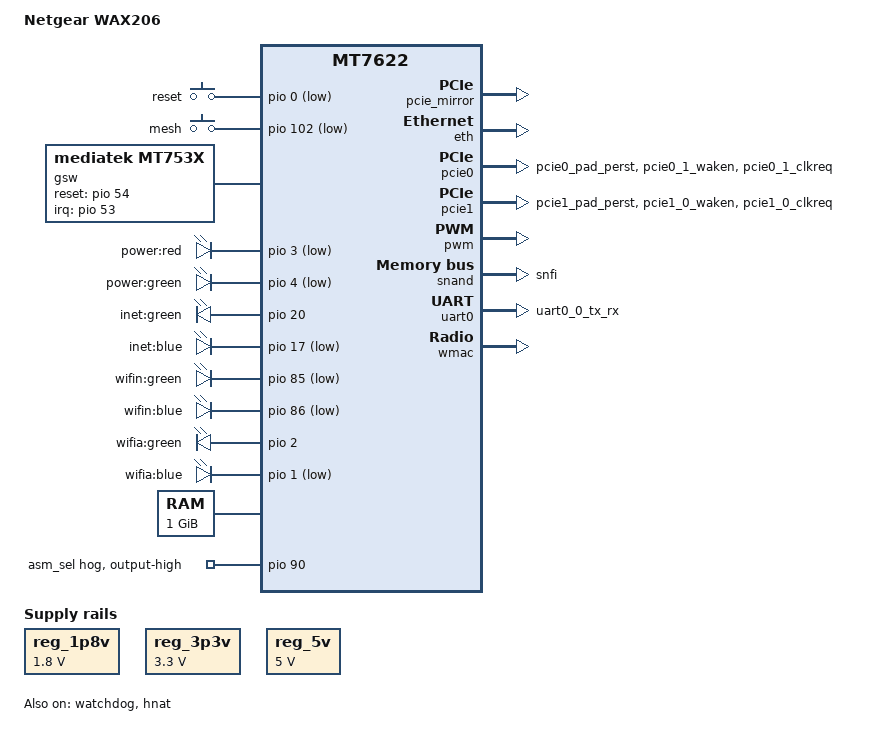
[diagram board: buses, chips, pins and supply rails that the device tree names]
/*
 * Copyright (c) 2018 MediaTek Inc.
 * Author: Ryder Lee <ryder.lee@mediatek.com>
 *
 * SPDX-License-Identifier: (GPL-2.0 OR MIT)
 */

/dts-v1/;
#include <dt-bindings/input/input.h>
#include <dt-bindings/gpio/gpio.h>


#include "mt7622.dtsi"
#include "mt6380.dtsi"

/ {
	model = "Netgear WAX206";
 	compatible = "netgear,wax206", "mediatek,mt7622";
 	
	aliases {
		serial0 = &uart0;
		led-boot = &led_power_r;
 		led-failsafe = &led_power_r;
 		led-running = &led_power_g;
 		led-upgrade = &led_power_g;
	};

 	chosen {
 		stdout-path = "serial0:115200n8";
 		bootargs = "earlycon=uart8250,mmio32,0x11002000 console=ttyS0,115200n8 swiotlb=512";
 	};

	cpus {
		cpu@0 {
			proc-supply = <&mt6380_vcpu_reg>;
			sram-supply = <&mt6380_vm_reg>;
		};

		cpu@1 {
			proc-supply = <&mt6380_vcpu_reg>;
			sram-supply = <&mt6380_vm_reg>;
		};
	};

	gpio-keys {
 		compatible = "gpio-keys";

 		reset {
 			label = "reset";
 			gpios = <&pio 0 GPIO_ACTIVE_LOW>;
 			linux,code = <KEY_RESTART>;
 		};

 		mesh {
 			label = "mesh";
 			gpios = <&pio 102 GPIO_ACTIVE_LOW>;
 			linux,code = <BTN_9>;
 			linux,input-type = <EV_SW>;
 		};
 	};

	gsw: gsw@0 {
		compatible = "mediatek,mt753x";
		mediatek,ethsys = <&ethsys>;
		#address-cells = <1>;
		#size-cells = <0>;
	};

	wed: wed@1020b000 {
		compatible = "mediatek,wed";
		wed_num = <2>;
		/* add this property for wed get the pci slot number. */
		pci_slot_map = <0>, <1>;
		reg = <0 0x1020a000 0 0x1000>,
		      <0 0x1020b000 0 0x1000>;
		interrupts = <GIC_SPI 214 IRQ_TYPE_LEVEL_LOW>,
			     <GIC_SPI 215 IRQ_TYPE_LEVEL_LOW>;
	};
	
	hnat: hnat@1b000000 {
	compatible = "mediatek,mtk-hnat_v2";
		reg = <0 0x1b100000 0 0x3000>;
		resets = <&ethsys 0>;
		reset-names = "mtketh";
	};
	
	pcie_mirror: pcie_mirror@10000400 {
		compatible = "mediatek,pcie-mirror";
		reg = <0 0x10000400 0 0x10>;
	};
	
	wdma: wdma@1b102800 {
		compatible = "mediatek,wed-wdma";
		reg = <0 0x1b102800 0 0x400>,
		      <0 0x1b102c00 0 0x400>;
		interrupts = <GIC_SPI 216 IRQ_TYPE_LEVEL_LOW>,
			     <GIC_SPI 217 IRQ_TYPE_LEVEL_LOW>,
			     <GIC_SPI 218 IRQ_TYPE_LEVEL_LOW>,
			     <GIC_SPI 219 IRQ_TYPE_LEVEL_LOW>,
			     <GIC_SPI 220 IRQ_TYPE_LEVEL_LOW>,
			     <GIC_SPI 221 IRQ_TYPE_LEVEL_LOW>;
	};
	
	leds {
 		compatible = "gpio-leds";

 		led_power_r: power_red {
 			default-state = "on";
 			gpios = <&pio 3 GPIO_ACTIVE_LOW>;
 			label = "power:red";
 		};

 		led_power_g: power_green {
 			default-state = "off";
 			gpios = <&pio 4 GPIO_ACTIVE_LOW>;
 			label = "power:green";
 		};

 		inet_green {
 			default-state = "off";
 			gpios = <&pio 20 GPIO_ACTIVE_HIGH>;
 			label = "inet:green";
 		};

 		inet_blue {
 			default-state = "off";
 			gpios = <&pio 17 GPIO_ACTIVE_LOW>;
 			label = "inet:blue";
 		};

 		wifin_green {
 			default-state = "off";
 			gpios = <&pio 85 GPIO_ACTIVE_LOW>;
 			label = "wifin:green";
 		};

 		wifin_blue {
 			default-state = "off";
 			gpios = <&pio 86 GPIO_ACTIVE_LOW>;
 			label = "wifin:blue";
 		};

 		wifia_green {
 			default-state = "off";
 			gpios = <&pio 2 GPIO_ACTIVE_HIGH>;
 			label = "wifia:green";
 		};

 		wifia_blue {
 			default-state = "off";
 			gpios = <&pio 1 GPIO_ACTIVE_LOW>;
 			label = "wifia:blue";
 		};
 	};
	memory {
		reg = <0 0x40000000 0 0x40000000>;
	};

	reg_1p8v: regulator-1p8v {
		compatible = "regulator-fixed";
		regulator-name = "fixed-1.8V";
		regulator-min-microvolt = <1800000>;
		regulator-max-microvolt = <1800000>;
		regulator-always-on;
	};

	reg_3p3v: regulator-3p3v {
		compatible = "regulator-fixed";
		regulator-name = "fixed-3.3V";
		regulator-min-microvolt = <3300000>;
		regulator-max-microvolt = <3300000>;
		regulator-boot-on;
		regulator-always-on;
	};

	reg_5v: regulator-5v {
		compatible = "regulator-fixed";
		regulator-name = "fixed-5V";
		regulator-min-microvolt = <5000000>;
		regulator-max-microvolt = <5000000>;
		regulator-boot-on;
		regulator-always-on;
	};
};


&eth {
	status = "okay";
	gmac0: mac@0 {
		compatible = "mediatek,eth-mac";
		reg = <0>;
		phy-mode = "2500base-x";
		ext-phy-reset-gpios = <&pio 101 0>;
		fixed-link {
			speed = <2500>;
			full-duplex;
			pause;
		};
	};


	mdio: mdio-bus {
		#address-cells = <1>;
		#size-cells = <0>;
 	};
	
};

&gsw {
	mediatek,mdio = <&mdio>;
	mediatek,portmap = "llllw";
	mediatek,mdio_master_pinmux = <1>;
	reset-gpios = <&pio 54 0>;
	interrupt-parent = <&pio>;
	interrupts = <53 IRQ_TYPE_LEVEL_HIGH>,<77 IRQ_TYPE_EDGE_FALLING>;
	status = "okay";

	port5: port@5 {
		compatible = "mediatek,mt753x-port";
		reg = <5>;
		phy-mode = "sgmii";

		fixed-link {
			speed = <2500>;
			full-duplex;
		};

	};

	port6: port@6 {
		compatible = "mediatek,mt753x-port";
		mediatek,ssc-on;
		reg = <6>;
		phy-mode = "sgmii";
		fixed-link {
			speed = <2500>;
			full-duplex;
		};
	};
};







&nor_flash {
	pinctrl-names = "default";
	pinctrl-0 = <&spi_nor_pins>;
	status = "disabled";

	flash@0 {
		compatible = "jedec,spi-nor";
		reg = <0>;
	};
};

&pcie0 {
	pinctrl-names = "default";
	pinctrl-0 = <&pcie0_pins>;
	status = "okay";
};

&pcie1 {
	pinctrl-names = "default";
	pinctrl-0 = <&pcie1_pins>;
	status = "okay";
};

&pio {
	/* Attention: GPIO 90 is used to switch between PCIe@1,0 and
	 * SATA functions. i.e. output-high: PCIe, output-low: SATA
	 */
	asm_sel {
		gpio-hog;
		gpios = <90 GPIO_ACTIVE_HIGH>;
		output-high;
	};

	/* eMMC is shared pin with parallel NAND */
	emmc_pins_default: emmc-pins-default {
		mux {
			function = "emmc", "emmc_rst";
			groups = "emmc";
		};

		/* "NDL0","NDL1","NDL2","NDL3","NDL4","NDL5","NDL6","NDL7",
		 * "NRB","NCLE" pins are used as DAT0,DAT1,DAT2,DAT3,DAT4,
		 * DAT5,DAT6,DAT7,CMD,CLK for eMMC respectively
		 */
		conf-cmd-dat {
			pins = "NDL0", "NDL1", "NDL2",
			       "NDL3", "NDL4", "NDL5",
			       "NDL6", "NDL7", "NRB";
			input-enable;
			bias-pull-up;
		};

		conf-clk {
			pins = "NCLE";
			bias-pull-down;
		};
	};

	emmc_pins_uhs: emmc-pins-uhs {
		mux {
			function = "emmc";
			groups = "emmc";
		};

		conf-cmd-dat {
			pins = "NDL0", "NDL1", "NDL2",
			       "NDL3", "NDL4", "NDL5",
			       "NDL6", "NDL7", "NRB";
			input-enable;
			drive-strength = <4>;
			bias-pull-up;
		};

		conf-clk {
			pins = "NCLE";
			drive-strength = <4>;
			bias-pull-down;
		};
	};

	eth_pins: eth-pins {
		mux {
			function = "eth";
			groups = "mdc_mdio", "rgmii_via_gmac2";
		};
	};

	i2c1_pins: i2c1-pins {
		mux {
			function = "i2c";
			groups =  "i2c1_0";
		};
	};

	i2c2_pins: i2c2-pins {
		mux {
			function = "i2c";
			groups =  "i2c2_0";
		};
	};

	i2s1_pins: i2s1-pins {
		mux {
			function = "i2s";
			groups =  "i2s_out_mclk_bclk_ws",
				  "i2s1_in_data",
				  "i2s1_out_data";
		};

		conf {
			pins = "I2S1_IN", "I2S1_OUT", "I2S_BCLK",
			       "I2S_WS", "I2S_MCLK";
			drive-strength = <12>;
			bias-pull-down;
		};
	};

	irrx_pins: irrx-pins {
		mux {
			function = "ir";
			groups =  "ir_1_rx";
		};
	};

	irtx_pins: irtx-pins {
		mux {
			function = "ir";
			groups =  "ir_1_tx";
		};
	};

	/* Parallel nand is shared pin with eMMC */
	parallel_nand_pins: parallel-nand-pins {
		mux {
			function = "flash";
			groups = "par_nand";
		};
	};

	pcie0_pins: pcie0-pins {
		mux {
			function = "pcie";
			groups = "pcie0_pad_perst",
				 "pcie0_1_waken",
				 "pcie0_1_clkreq";
		};
	};

	pcie1_pins: pcie1-pins {
		mux {
			function = "pcie";
			groups = "pcie1_pad_perst",
				 "pcie1_0_waken",
				 "pcie1_0_clkreq";
		};
	};

	pmic_bus_pins: pmic-bus-pins {
		mux {
			function = "pmic";
			groups = "pmic_bus";
		};
	};

	pwm7_pins: pwm1-2-pins {
		mux {
			function = "pwm";
			groups = "pwm_ch7_2";
		};
	};

	wled_pins: wled-pins {
		mux {
			function = "led";
			groups = "wled";
		};
	};

	sd0_pins_default: sd0-pins-default {
		mux {
			function = "sd";
			groups = "sd_0";
		};

		/* "I2S2_OUT, "I2S4_IN"", "I2S3_IN", "I2S2_IN",
		 *  "I2S4_OUT", "I2S3_OUT" are used as DAT0, DAT1,
		 *  DAT2, DAT3, CMD, CLK for SD respectively.
		 */
		conf-cmd-data {
			pins = "I2S2_OUT", "I2S4_IN", "I2S3_IN",
			       "I2S2_IN","I2S4_OUT";
			input-enable;
			drive-strength = <8>;
			bias-pull-up;
		};
		conf-clk {
			pins = "I2S3_OUT";
			drive-strength = <12>;
			bias-pull-down;
		};
		conf-cd {
			pins = "TXD3";
			bias-pull-up;
		};
	};

	sd0_pins_uhs: sd0-pins-uhs {
		mux {
			function = "sd";
			groups = "sd_0";
		};

		conf-cmd-data {
			pins = "I2S2_OUT", "I2S4_IN", "I2S3_IN",
			       "I2S2_IN","I2S4_OUT";
			input-enable;
			bias-pull-up;
		};

		conf-clk {
			pins = "I2S3_OUT";
			bias-pull-down;
		};
	};

	/* Serial NAND is shared pin with SPI-NOR */
	serial_nand_pins: serial-nand-pins {
		mux {
			function = "flash";
			groups = "snfi";
		};
	};

	spic0_pins: spic0-pins {
		mux {
			function = "spi";
			groups = "spic0_0";
		};
	};

	spic1_pins: spic1-pins {
		mux {
			function = "spi";
			groups = "spic1_0";
		};
	};

	/* SPI-NOR is shared pin with serial NAND */
	spi_nor_pins: spi-nor-pins {
		mux {
			function = "flash";
			groups = "spi_nor";
		};
	};

	/* serial NAND is shared pin with SPI-NOR */
	serial_nand_pins: serial-nand-pins {
		mux {
			function = "flash";
			groups = "snfi";
		};
	};

	uart0_pins: uart0-pins {
		mux {
			function = "uart";
			groups = "uart0_0_tx_rx" ;
		};
	};

	uart2_pins: uart2-pins {
		mux {
			function = "uart";
			groups = "uart2_1_tx_rx" ;
		};
	};

	watchdog_pins: watchdog-pins {
		mux {
			function = "watchdog";
			groups = "watchdog";
		};
	};
};

&pwm {
	status = "okay";
};

&pwrap {
	pinctrl-names = "default";
	pinctrl-0 = <&pmic_bus_pins>;

	status = "okay";
};

&sata {
	status = "disable";
};

&sata_phy {
	status = "disable";
};

&hnat {
	mtketh-wan = "eth0.2";
	mtketh-ppd = "eth0.1";
	mtketh-lan = "eth0";
	mtketh-max-gmac = <0x1>;
	ext-devices = "wlan1", "wlan0","rai0","apclii0","ra0","apcli0";
	status = "okay";
};
&snand {
	pinctrl-names = "default";
	pinctrl-0 = <&serial_nand_pins>;
	status = "okay";

	mediatek,bmt-v2;
	mediatek,bmt-table-size = <0x1000>;

	partitions {
		compatible = "fixed-partitions";
		#address-cells = <1>;
		#size-cells = <1>;

		partition@0 {
			label = "Preloader";
			reg = <0x00000 0x0080000>;
			read-only;
			};

		partition@80000 {
			label = "ATF";
			reg = <0x80000 0x0040000>;
			read-only;
			};

			partition@c0000 {
			label = "Bootloader";
			reg = <0xc0000 0x0080000>;
			read-only;
			};

		partition@140000 {
			label = "Config";
			reg = <0x140000 0x0080000>;
			};


		factory: partition@1c0000 {
			label = "factory";
			reg = <0x1c0000 0x0100000>;
			read-only;

			compatible = "nvmem-cells";
			#address-cells = <1>;
			#size-cells = <1>;

			macaddr_factory_7fff4: macaddr@7fff4 {
					reg = <0x7fff4 0x6>;
				};

			macaddr_factory_7fffa: macaddr@7fffa {
					reg = <0x7fffa 0x6>;
				};
		};

		partition@2c0000 {
			label = "firmware";
			reg = <0x2c0000 0x4c00000>;

			compatible = "fixed-partitions";
			#address-cells = <1>;
			#size-cells = <1>;

			partition@0 {
			label = "kernel";
			reg = <0x0 0x600000>;
			};

			partition@600000 {
			label = "ubi";
			reg = <0x600000 0x4600000>;
			};
		};


		partition@4ec0000 {
			label = "CFG";
			reg = <0x4ec0000 0x800000>;
			read-only;
			};

		partition@56c0000 {
			label = "RAE";
			reg = <0x56c0000 0x400000>;
			read-only;
			};

		partition@5ac0000 {
			label = "POT";
			reg = <0x5ac0000 0x100000>;
			read-only;
			};

		partition@5bc0000 {
			label = "Language";
			reg = <0x5bc0000 0x400000>;
			read-only;
			};

		partition@5fc0000 {
			label = "Traffic";
			reg = <0x5fc0000 0x200000>;
			read-only;
			};

		partition@61c0000 {
			label = "Cert";
			reg = <0x61c0000 0x100000>;
			read-only;
			};

		partition@62c0000 {
			label = "NTGRcryptK";
			reg = <0x62c0000 0x100000>;
			read-only;
			};

		partition@63c0000 {
			label = "NTGRcryptD";
			reg = <0x63c0000 0x500000>;
			read-only;
			};

		partition@68c0000 {
			label = "LOG";
			reg = <0x68c0000 0x100000>;
			read-only;
			};

		partition@69c0000 {
			label = "User_data";
			reg = <0x69c0000 0x640000>;
			read-only;
			};
		
};
};


&uart0 {
	pinctrl-names = "default";
	pinctrl-0 = <&uart0_pins>;
	status = "okay";
};


&watchdog {
	pinctrl-names = "default";
	pinctrl-0 = <&watchdog_pins>;
	status = "okay";
};

&wmac {
	status = "okay";

	mediatek,mtd-eeprom = <&factory 0x0>;
};
